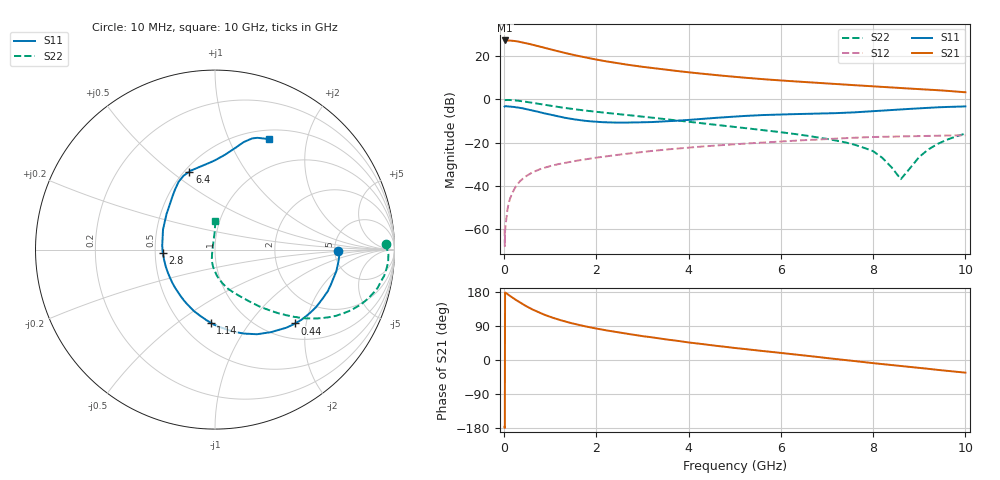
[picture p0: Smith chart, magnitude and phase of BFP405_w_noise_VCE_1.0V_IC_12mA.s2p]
! Infineon Technologies  Discrete & RF Semiconductors
! BFP405
! VCE =  1.0 V,  IC =  12 mA
! Common Emitter S-Parameters:  Jan 2016
# GHz  S  MA  R  50
!  f  S11  S21  S12  S22
! GHz  MAG  ANG  MAG  ANG  MAG  ANG  MAG  ANG
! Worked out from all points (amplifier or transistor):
!   233 points, 10 MHz to 10 GHz, reference 50 ohm
!   highest |S21| = 27.2 dB at 20 MHz (marker M1)
!   |S21| within 3 dB of that: start of sweep to 804.3 MHz
!   unconditionally stable (mu >= 1): start of sweep to 19.69 MHz; 2.13 GHz to end of sweep
!   at 200 MHz: K = 0.20, MSG = 34.7 dB, |S12| = -42.4 dB
!   at 1.74 GHz: K = 0.89, MSG = 23.7 dB, |S12| = -27.8 dB
!   at 10 GHz: K = 1.42, MAG = 6.1 dB, |S12| = -16.6 dB
!   lowest NFmin = 1.77 dB at 900 MHz
!   S11 on the Smith chart (normalised r, x): 10 MHz: 5.30, -0.12; 440 MHz: 1.33, -1.73; 1.14 GHz: 0.69, -0.67; 2.8 GHz: 0.55, -0.02; 6.4 GHz: 0.53, +0.58; 10 GHz: 0.61, +1.42
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0.01  0.6828 -0.5  22.94 -177.2  0.001 -40.7  0.9525 1.9
0.015  0.6884 -1.3  22.96 -179.6  0.0004 19.5  0.9562 0.9
0.02  0.6941 -2.0  23.02 178.1  0.0009 94.1  0.9601 -0.1
0.1  0.6866 -10.1  23 171.4  0.004 87.5  0.9671 -4.2
0.24  0.6598 -24.1  22.28 159.7  0.0091 78.9  0.942 -10.7
0.44  0.6074 -42.6  20.32 144.6  0.0157 71.6  0.8881 -18.5
0.6  0.5559 -55.8  18.53 134.1  0.02 67.0  0.8343 -23.6
0.7  0.5264 -63.6  17.41 128.4  0.0224 64.6  0.8005 -26.3
0.9  0.4675 -77.8  15.33 118.1  0.0266 60.9  0.7377 -30.7
1.14  0.4084 -93.3  13.19 108.2  0.031 57.9  0.6727 -34.8
1.4  0.3618 -109.0  11.29 99.0  0.0353 55.7  0.614 -38.3
1.68  0.3261 -124.4  9.712 91.0  0.0397 53.9  0.5621 -41.3
2.2  0.2944 -151.0  7.608 78.5  0.0479 51.2  0.4878 -45.9
2.8  0.2919 -176.7  6.052 66.8  0.0574 47.9  0.4189 -50.7
3.4  0.3053 162.1  5.003 56.4  0.067 43.9  0.3571 -55.5
5.1  0.4061 122.7  3.241 30.5  0.0927 31.5  0.2224 -72.7
6.4  0.4572 108.2  2.561 13.3  0.1117 21.6  0.1525 -84.5
6.8  0.4659 102.2  2.4 8.0  0.1177 18.3  0.1316 -88.3
8.4  0.5659 79.9  1.876 -13.3  0.1373 3.2  0.0267 -127.3
8.6  0.5837 78.1  1.822 -15.8  0.1389 1.4  0.0142 179.9
9.2  0.6359 73.3  1.674 -23.3  0.143 -3.6  0.0696 94.4
10  0.685 64.1  1.455 -33.4  0.1471 -9.6  0.1614 89.1
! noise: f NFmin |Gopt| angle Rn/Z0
0.9  1.77  0.15  3  0.32
1.8  2.01  0.1  -12  0.29
2.4  2.13  0.09  -14  0.31
3  2.17  0.05  -9  0.29
4  2.32  0.08  -88  0.29
5  2.7  0.15  -96  0.31
